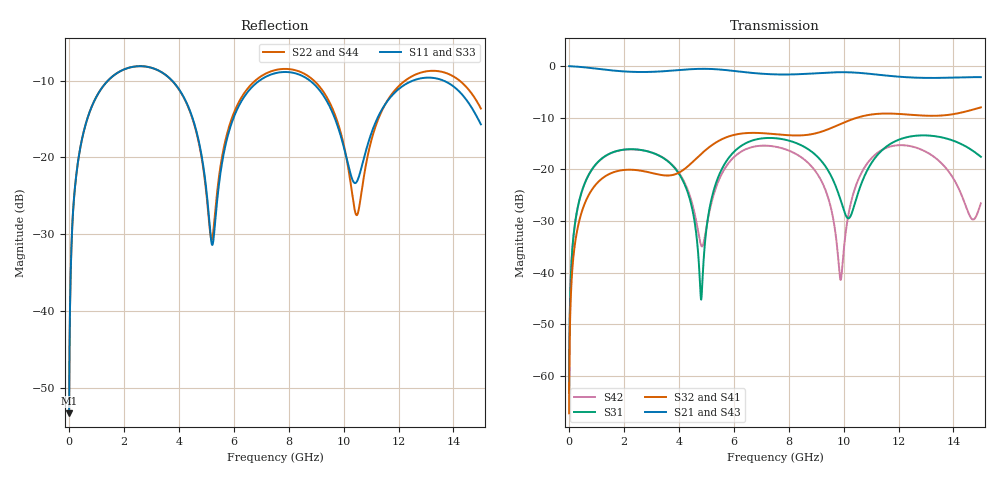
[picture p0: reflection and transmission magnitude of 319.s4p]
! Created with skrf 1.8.0 (http://scikit-rf.org).
# GHz S RI R 50.0
!freq ReS11 ImS11 ReS12 ImS12 ReS13 ImS13
! ReS14 ImS14
! ReS21 ImS21 ReS22 ImS22 ReS23 ImS23
! ReS24 ImS24
! ReS31 ImS31 ReS32 ImS32 ReS33 ImS33
! ReS34 ImS34
! ReS41 ImS41 ReS42 ImS42 ReS43 ImS43
! ReS44 ImS44
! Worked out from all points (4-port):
!   2499 points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, 5 MHz to 15 GHz, reference 50 ohm
!   strongest paths, dB at 5 MHz, 3.476 GHz, 7.19 GHz, 11.1 GHz, 15 GHz:
!     S21: 0.0, -1.0, -1.5, -1.6, -2.1
!     S43: 0.0, -1.0, -1.5, -1.6, -2.2
!     S32: -67.2, -21.2, -13.0, -9.3, -8.0
!     S41: -67.2, -21.2, -13.1, -9.3, -8.0
!     S31: -63.2, -17.9, -13.9, -18.1, -17.6
!     S42: -63.2, -17.9, -15.4, -17.4, -26.6
!   lowest |S11| = -53.3 dB at 5 MHz (marker M1), VSWR 1.00, Z = 50.2 + j0.131 ohm
!   |S11| at or under -10 dB: start of sweep to 1.417 GHz; 3.756 GHz to 6.935 GHz (3.179 GHz wide, 59.5 % of centre); 8.776 GHz to 12.52 GHz (3.744 GHz wide, 35.2 % of centre) (the widest 3 of 4)
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0.005  0.00172 0.00131  0.9982 -0.00335  8.68e-05 0.000683  -8.43e-05 -0.000429
       0.9982 -0.00335  0.00172 0.00131  -8.43e-05 -0.000429  8.67e-05 0.000683
       8.68e-05 0.000683  -8.43e-05 -0.000429  0.00172 0.00131  0.9982 -0.00335
       -8.43e-05 -0.000429  8.67e-05 0.000683  0.9982 -0.00335  0.00172 0.00131
1.619545  0.2983 0.1652  0.4847 -0.7643  0.1378 0.0518  -0.0937 0.00456
          0.4847 -0.7643  0.2985 0.1649  -0.0938 0.00472  0.1374 0.0525
          0.1378 0.0518  -0.0938 0.00472  0.2981 0.1652  0.4847 -0.7643
          -0.0937 0.00456  0.1374 0.0525  0.4847 -0.7643  0.2985 0.1648
4.808253  0.0498 -0.096  -0.8913 -0.3009  0.00551 -0.000532  -0.0414 0.1345
          -0.8913 -0.3009  0.0502 -0.0923  -0.0396 0.1351  -0.0171 -0.00719
          0.00551 -0.000532  -0.0396 0.1351  0.0498 -0.0948  -0.8916 -0.3005
          -0.0414 0.1345  -0.0171 -0.00719  -0.8916 -0.3005  0.0493 -0.0914
8.022093  0.3586 -0.0163  -0.0237 0.8294  0.1498 -0.1162  0.2046 -0.0579
          -0.0237 0.8294  0.3741 -0.0379  0.2048 -0.0624  0.1434 -0.0493
          0.1498 -0.1162  0.2048 -0.0624  0.3606 -0.0156  -0.024 0.8283
          0.2046 -0.0579  0.1434 -0.0493  -0.024 0.8283  0.3776 -0.0379
9.891622  0.1015 -0.0951  0.7636 0.4232  -0.0382 -0.0331  0.1297 -0.2427
          0.7636 0.4232  0.0833 -0.12  0.1233 -0.2462  -0.00841 -0.00139
          -0.0382 -0.0331  0.1233 -0.2462  0.1034 -0.0974  0.7624 0.4244
          0.1297 -0.2427  -0.00841 -0.00139  0.7624 0.4244  0.0854 -0.1224
10.79825  0.0864 0.0649  0.8477 -0.0569  0.042 0.0803  -0.0353 -0.3302
          0.8477 -0.0569  0.0594 0.0629  -0.0436 -0.3295  0.0491 0.0964
          0.042 0.0803  -0.0436 -0.3295  0.0852 0.0626  0.8479 -0.0555
          -0.0353 -0.3302  0.0491 0.0964  0.8479 -0.0555  0.0608 0.062
15  0.149 -0.0694  -0.6139 -0.4833  -0.1151 -0.0657  -0.2549 0.3063
    -0.6139 -0.4833  0.1567 -0.1371  -0.2421 0.3166  -0.0371 0.0288
    -0.1151 -0.0657  -0.2421 0.3166  0.1636 -0.0724  -0.6086 -0.4863
    -0.2549 0.3063  -0.0371 0.0288  -0.6086 -0.4863  0.159 -0.1483
